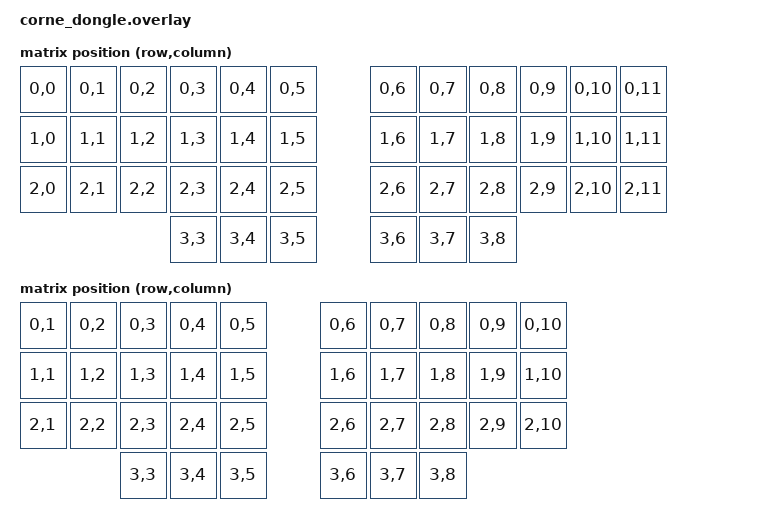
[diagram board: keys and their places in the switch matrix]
/*
 * Corne/Kometa dongle: keyless central for the XIAO BLE dongle hardware.
 *
 * Drives corne or kometa halves flashed in peripheral mode
 * (CONFIG_ZMK_SPLIT_ROLE_CENTRAL=n). Both boards share the identical
 * 42-position matrix, so a single keymap (corne.keymap) serves either.
 *
 * The physical layout inventory MUST mirror the corne halves exactly
 * (same layout nodes, same order, same transform maps): the central
 * pushes its selected layout *index* to every connected half, and each
 * half resolves that index against its own layout list. On corne halves
 * index 0 is the 5-column foostan layout and index 1 the 6-column one,
 * so the dongle defines both, in the same order, and defaults to the
 * 6-column layout. With a single-layout dongle, pushing index 0 forced
 * halves onto the 5-column layout and every key arrived scrambled
 * (e.g. F produced A). Kometa halves have a single 42-key layout; they
 * simply reject the pushed index and keep it.
 */

#include <dt-bindings/zmk/matrix_transform.h>
#include <layouts/foostan/corne/5column.dtsi>
#include <layouts/foostan/corne/6column.dtsi>

&foostan_corne_5col_layout {
    transform = <&corne_dongle_five_col_transform>;
};

&foostan_corne_6col_layout {
    transform = <&corne_dongle_transform>;
};

/ {
    chosen {
        zmk,kscan = &corne_dongle_kscan;
        zmk,physical-layout = &foostan_corne_6col_layout;
    };

    corne_dongle_kscan: kscan_1 {
        compatible = "zmk,kscan-mock";
        columns = <0>;
        rows = <0>;
        events = <0>;
    };

    // Transform maps copied verbatim from the corne shield (corne.dtsi).
    // The dongle's own (mock) kscan never feeds them, but layout-switch
    // position mapping must stay consistent with the halves.
    corne_dongle_transform: dongle_transform {
        compatible = "zmk,matrix-transform";
        columns = <12>;
        rows = <4>;

        map = <
RC(0,0) RC(0,1) RC(0,2) RC(0,3) RC(0,4) RC(0,5)  RC(0,6) RC(0,7) RC(0,8) RC(0,9) RC(0,10) RC(0,11)
RC(1,0) RC(1,1) RC(1,2) RC(1,3) RC(1,4) RC(1,5)  RC(1,6) RC(1,7) RC(1,8) RC(1,9) RC(1,10) RC(1,11)
RC(2,0) RC(2,1) RC(2,2) RC(2,3) RC(2,4) RC(2,5)  RC(2,6) RC(2,7) RC(2,8) RC(2,9) RC(2,10) RC(2,11)
                        RC(3,3) RC(3,4) RC(3,5)  RC(3,6) RC(3,7) RC(3,8)
        >;
    };

    corne_dongle_five_col_transform: dongle_five_col_transform {
        compatible = "zmk,matrix-transform";
        columns = <10>;
        rows = <4>;

        map = <
RC(0,1) RC(0,2) RC(0,3) RC(0,4) RC(0,5)  RC(0,6) RC(0,7) RC(0,8) RC(0,9) RC(0,10)
RC(1,1) RC(1,2) RC(1,3) RC(1,4) RC(1,5)  RC(1,6) RC(1,7) RC(1,8) RC(1,9) RC(1,10)
RC(2,1) RC(2,2) RC(2,3) RC(2,4) RC(2,5)  RC(2,6) RC(2,7) RC(2,8) RC(2,9) RC(2,10)
                        RC(3,3) RC(3,4) RC(3,5)  RC(3,6) RC(3,7) RC(3,8)
        >;
    };
};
